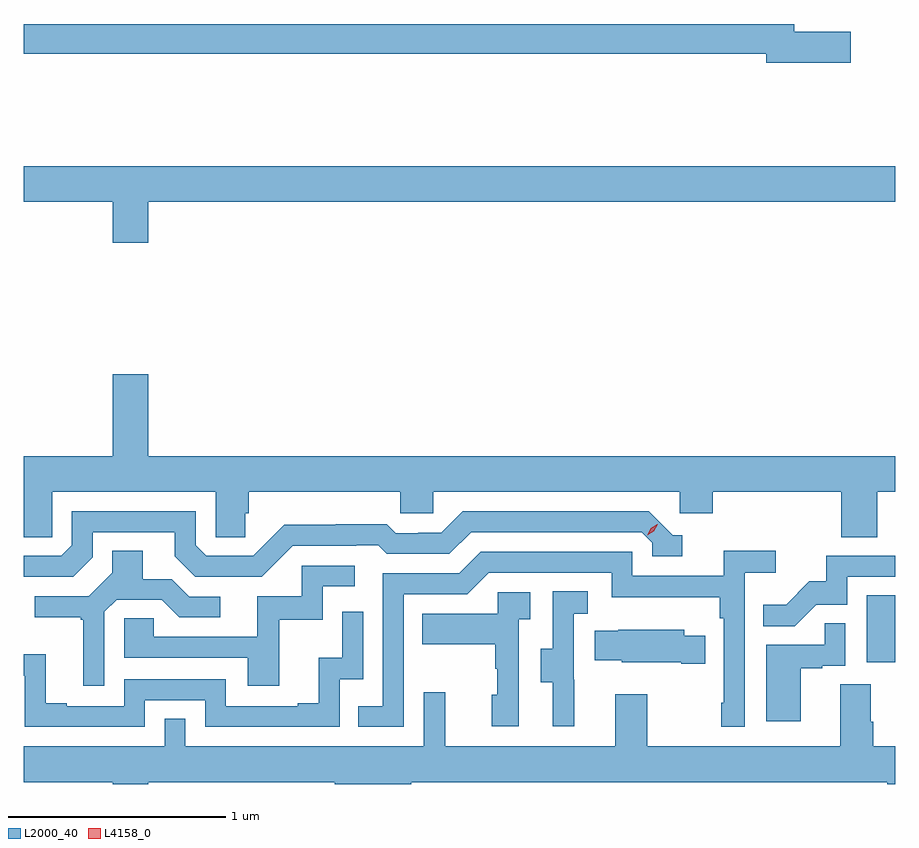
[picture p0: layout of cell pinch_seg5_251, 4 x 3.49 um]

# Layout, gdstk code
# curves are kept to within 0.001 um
import gdstk
lib = gdstk.Library(unit=1e-6, precision=1e-09)
def R(c, l, rs):  # rectangles x0, y0, x1, y1
    for r in rs: c.add(gdstk.rectangle(r[:2], r[2:], *l))
def P(c, l, *ps):  # polygons
    for p in ps: c.add(gdstk.Polygon(p, *l))
L2000_40 = (2000, 40)
L4158_0 = (4158, 0)

pinch_seg5_251 = lib.new_cell('pinch_seg5_251')
R(pinch_seg5_251, L2000_40, [(935.702,910.59,935.832,910.897)])
P(pinch_seg5_251, L2000_40, [(935.629,913.484),(935.368,913.484),(935.368,913.52),(931.832,913.52),(931.832,913.384),(935.24,913.384),(935.24,913.342),(935.629,913.342)],
  [(932.404,912.704),(935.832,912.704),(935.832,912.868),(931.832,912.868),(931.832,912.704),(932.24,912.704),(932.24,912.516),(932.404,912.516)],
  [(931.962,911.372),(932.712,911.372),(932.712,911.164),(932.849,911.164),(932.849,911.274),(932.864,911.274),(932.864,911.372),(933.561,911.372),(933.561,911.274),(933.711,911.274),(933.711,911.372),(934.842,911.372),(934.842,911.274),(934.994,911.274),(934.994,911.372),(935.585,911.372),(935.585,911.164),(935.75,911.164),(935.75,911.372),(935.832,911.372),(935.832,911.536),(932.404,911.536),(932.404,911.911),(932.24,911.911),(932.24,911.536),(931.832,911.536),(931.832,911.164),(931.962,911.164)],
  [(931.842,910.983),(932.058,910.983),(932.148,911.073),(932.148,911.187),(932.525,911.187),(932.525,911.077),(932.619,910.983),(932.925,910.983),(933.066,911.124),(933.359,911.124),(933.359,911.127),(933.458,911.127),(933.497,911.088),(933.786,911.088),(933.885,911.187),(934.668,911.187),(934.716,911.139),(934.716,911.076),(934.855,911.076),(934.855,911.172),(934.812,911.172),(934.701,911.283),(933.848,911.283),(933.749,911.184),(933.642,911.184),(933.642,911.181),(933.539,911.181),(933.497,911.224),(933.264,911.224),(933.264,911.221),(933.028,911.221),(932.886,911.079),(932.67,911.079),(932.622,911.127),(932.622,911.283),(932.052,911.283),(932.052,911.127),(932.004,911.079),(931.832,911.079),(931.832,910.982)],
  [(933.576,910.902),(933.867,910.902),(933.966,911.001),(934.53,911.001),(934.53,910.889),(935.026,910.889),(935.026,910.793),(935.046,910.793),(935.046,910.405),(935.034,910.405),(935.034,910.293),(935.142,910.293),(935.142,911),(935.284,911),(935.284,911.102),(935.045,911.102),(935.045,910.986),(934.626,910.986),(934.626,911.097),(933.929,911.097),(933.83,910.998),(933.48,910.998),(933.48,910.389),(933.367,910.389),(933.367,910.293),(933.576,910.293)],
  [(932.202,910.821),(932.259,910.878),(932.465,910.878),(932.546,910.797),(932.734,910.797),(932.734,910.89),(932.592,910.89),(932.512,910.97),(932.377,910.97),(932.377,911.102),(932.237,911.102),(932.237,911),(932.13,910.893),(931.881,910.893),(931.881,910.796),(932.094,910.796),(932.094,910.785),(932.105,910.785),(932.105,910.482),(932.202,910.482)],
  [(935.469,910.854),(935.613,910.854),(935.613,910.983),(935.832,910.983),(935.832,911.079),(935.515,911.079),(935.515,910.962),(935.438,910.962),(935.331,910.855),(935.227,910.855),(935.227,910.756),(935.371,910.756)],
  [(933.005,910.785),(933.204,910.785),(933.204,910.938),(933.352,910.938),(933.352,911.034),(933.108,911.034),(933.108,910.893),(932.903,910.893),(932.903,910.707),(932.429,910.707),(932.429,910.791),(932.292,910.791),(932.292,910.611),(932.861,910.611),(932.861,910.482),(933.005,910.482)],
  [(934.358,910.509),(934.356,910.509),(934.356,910.813),(934.42,910.813),(934.42,910.916),(934.26,910.916),(934.26,910.653),(934.205,910.653),(934.205,910.498),(934.259,910.498),(934.259,910.296),(934.358,910.296)],
  [(934.104,910.787),(934.156,910.787),(934.156,910.911),(934.008,910.911),(934.008,910.813),(933.661,910.813),(933.661,910.673),(933.996,910.673),(933.996,910.559),(934.006,910.559),(934.006,910.44),(933.98,910.44),(933.98,910.296),(934.104,910.296)],
  [(932.388,910.416),(932.664,910.416),(932.664,910.293),(933.282,910.293),(933.282,910.512),(933.39,910.512),(933.39,910.822),(933.294,910.822),(933.294,910.61),(933.185,910.61),(933.185,910.402),(933.089,910.402),(933.089,910.389),(932.76,910.389),(932.76,910.512),(932.292,910.512),(932.292,910.389),(932.029,910.389),(932.029,910.402),(931.933,910.402),(931.933,910.627),(931.832,910.627),(931.832,910.529),(931.836,910.529),(931.836,910.293),(932.388,910.293)],
  [(935.398,910.563),(935.498,910.563),(935.498,910.575),(935.604,910.575),(935.604,910.769),(935.509,910.769),(935.509,910.671),(935.24,910.671),(935.24,910.32),(935.398,910.32)],
  [(934.961,910.711),(934.863,910.711),(934.863,910.738),(934.561,910.738),(934.561,910.735),(934.453,910.735),(934.453,910.598),(934.578,910.598),(934.578,910.589),(934.85,910.589),(934.85,910.582),(934.961,910.582)],
  [(932.404,910.04),(933.26,910.04),(933.26,910.031),(933.61,910.031),(933.61,910.04),(935.795,910.04),(935.795,910.031),(935.832,910.031),(935.832,910.204),(935.732,910.204),(935.732,910.316),(935.719,910.316),(935.719,910.49),(935.579,910.49),(935.579,910.204),(934.695,910.204),(934.695,910.444),(934.547,910.444),(934.547,910.204),(933.767,910.204),(933.767,910.453),(933.669,910.453),(933.669,910.204),(932.574,910.204),(932.574,910.331),(932.478,910.331),(932.478,910.204),(931.832,910.204),(931.832,910.04),(932.24,910.04),(932.24,910.031),(932.404,910.031)])
P(pinch_seg5_251, L4158_0, [(934.694,911.172),(934.694,911.172),(934.71,911.204),(934.74,911.224),(934.741,911.224),(934.741,911.224),(934.724,911.191),(934.694,911.172)])

lib.write_gds('pinch_seg5_251.gds')
